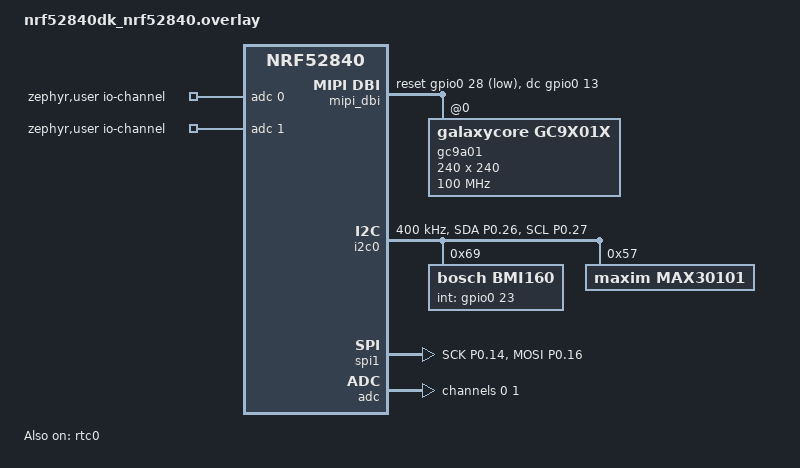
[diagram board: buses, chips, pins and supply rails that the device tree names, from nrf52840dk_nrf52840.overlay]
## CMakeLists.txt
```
# SPDX-License-Identifier: Apache-2.0

cmake_minimum_required(VERSION 3.20.0)

find_package(Zephyr REQUIRED HINTS $ENV{ZEPHYR_BASE})
project(accelerometer_chart)

include_directories(
    include
)

FILE(GLOB app_sources src/*.c)
target_sources(app PRIVATE ${app_sources})
target_sources(app PRIVATE
    src/bluetooth/ble_hrs.c
    src/bluetooth/ble_nus.c
    src/bluetooth/ble_service.c
)
target_sources(app PRIVATE
    src/sensors/bmi160.c
    src/sensors/max30101.c
)
target_sources(app PRIVATE
    # src/images/background.c
    src/images/heart.c
    src/images/background1.c
    src/images/steps_img.c
    src/images/bluetooth.c
    src/images/watchface1bg.c
    src/images/shoesw1.c
    src/images/cardiogram.c
    src/images/bluetooth1.c
    src/battery_monitor.c
)
target_sources(app PRIVATE
    src/watchdog.c
)
target_sources(app PRIVATE
    src/fonts/font1.c
    src/fonts/font2.c
)
```

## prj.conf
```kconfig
CONFIG_MAIN_STACK_SIZE=4096
CONFIG_LOG=y

CONFIG_LVGL=y
CONFIG_LV_Z_MEM_POOL_SIZE=16384

CONFIG_DISPLAY=y
CONFIG_INPUT=y
CONFIG_SENSOR=y
CONFIG_EMUL=y
CONFIG_ILI9341=y
CONFIG_LV_FONT_MONTSERRAT_16=y
CONFIG_LV_FONT_MONTSERRAT_12=y
CONFIG_LV_FONT_MONTSERRAT_14=y
CONFIG_LV_FONT_MONTSERRAT_20=y
CONFIG_LV_FONT_MONTSERRAT_22=y
CONFIG_LV_FONT_MONTSERRAT_28=y
CONFIG_LV_FONT_MONTSERRAT_32=y
CONFIG_LV_FONT_MONTSERRAT_10=y


CONFIG_HEAP_MEM_POOL_SIZE=16384


CONFIG_LV_USE_LABEL=y
CONFIG_LV_USE_BTN=y
CONFIG_LV_USE_ANIMIMG=y
CONFIG_LV_USE_CALENDAR=n
CONFIG_LV_USE_SWITCH=y
CONFIG_LV_USE_ARC=y
CONFIG_LV_USE_SLIDER=y
CONFIG_LV_USE_IMG=y


CONFIG_LV_COLOR_DEPTH_16=y

# Sat, vremenska podrška
CONFIG_COUNTER=y
CONFIG_RTC=y

# Clock i napajanje
CONFIG_CLOCK_CONTROL=y
CONFIG_CLOCK_CONTROL_NRF=y
CONFIG_CLOCK_CONTROL_NRF_K32SRC_RC=y
CONFIG_CLOCK_CONTROL_NRF_K32SRC_500PPM=y

# Bluetooth
CONFIG_BT=y
CONFIG_BT_PERIPHERAL=y
CONFIG_BT_DEVICE_NAME="nRF_Device"
CONFIG_BT_DEVICE_APPEARANCE=0
CONFIG_BT_CTS=y
CONFIG_BT_NUS=y
CONFIG_BT_HRS=y

CONFIG_POSIX_API=y
# Senzori i I2C/SPI
CONFIG_I2C=y
CONFIG_SPI=y
CONFIG_SENSOR=y
CONFIG_BMI160=y
CONFIG_GPIO=y
CONFIG_INPUT=y
CONFIG_ADC=y

CONFIG_WATCHDOG=y


# MCUboot podrška
CONFIG_BOOTLOADER_MCUBOOT=y
CONFIG_RETAINED_MEM=y
CONFIG_ZCBOR=y
CONFIG_MCUMGR=y
```

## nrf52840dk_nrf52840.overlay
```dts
/ {
    compatible = "nordic,nrf52840-dk-nrf52840";

    chosen {
        /* Only one display can be chosen at a time */
        zephyr,display = &gc9a01;    // SPI TFT
        zephyr,rtc = &rtc0;
    };

    aliases {
        max30101 = &max30101;
        bmi160 = &bmi160;
    };

    zephyr,user {
        io-channels = <&adc 0>, <&adc 1>;
    };





};

/* I2C0 Configuration (for BMI160, MAX30101, SSD1306) */
&i2c0 {
    status = "okay";
    pinctrl-0 = <&i2c0_default>;
    pinctrl-1 = <&i2c0_sleep>;
    pinctrl-names = "default", "sleep";
    clock-frequency = <I2C_BITRATE_FAST>;

    /* BMI160 IMU */
    bmi160: bmi160@69 {
        compatible = "bosch,bmi160";
        reg = <0x69>;
        label = "BMI160";
        int-gpios = <&gpio0 23 GPIO_ACTIVE_HIGH>;
    };

    /* MAX30101 Pulse Oximeter */
    max30101: max30101@57 {
        compatible = "maxim,max30101";
        reg = <0x57>;
        label = "MAX30101";
    };


};

/* SPI1 Configuration for ILI9341 */
&spi1 {
    status = "okay";
    cs-gpios = <&gpio0 29 GPIO_ACTIVE_LOW>;
    pinctrl-0 = <&spi1_default>;
    pinctrl-1 = <&spi1_sleep>;
    pinctrl-names = "default", "sleep";
};

/ {
    /* MIPI DBI/ILI9341 Configuration */
    mipi_dbi {
        compatible = "zephyr,mipi-dbi-spi";
        dc-gpios = <&gpio0 13 GPIO_ACTIVE_HIGH>;
        reset-gpios = <&gpio0 28 GPIO_ACTIVE_LOW>;
        write-only;
        #address-cells = <1>;  // Only 1 address cell (typical for SPI devices)
        #size-cells = <0>;     // No size needed (common for simple SPI devices)
        spi-dev = <&spi1>;


        gc9a01: gc9a01@0 {
            status="okay";
            compatible = "galaxycore,gc9x01x";
            reg = <0>;
            mipi-max-frequency = <100000000>;
            width = <240>;
            height = <240>;
			pixel-format = <1>;
            display-inversion;

        };
    };
};

/* Pin Control Definitions */
&pinctrl {
    /* I2C0 Pins */
    i2c0_default: i2c0_default {
        group1 {
            psels = <NRF_PSEL(TWIM_SDA, 0, 26)>,
                    <NRF_PSEL(TWIM_SCL, 0, 27)>;
            bias-pull-up;
        };
    };

    i2c0_sleep: i2c0_sleep {
        group1 {
            psels = <NRF_PSEL(TWIM_SDA, 0, 26)>,
                    <NRF_PSEL(TWIM_SCL, 0, 27)>;
            low-power-enable;
        };
    };

    /* SPI1 Pins */
    spi1_default: spi1_default {
        group1 {
            psels = <NRF_PSEL(SPIM_SCK, 0, 14)>,
                    <NRF_PSEL(SPIM_MOSI, 0, 16)>;
        };
    };

    spi1_sleep: spi1_sleep {
        group1 {
            psels = <NRF_PSEL(SPIM_SCK, 0, 14)>,
                    <NRF_PSEL(SPIM_MOSI, 0, 16)>;
            low-power-enable;
        };
    };


};

/* RTC Configuration */
&rtc0 {
    status = "okay";
    compatible = "nordic,nrf-rtc";
    clock-frequency = <32768>;
};

&adc {
    #address-cells = <1>;
    #size-cells = <0>;

    channel@0 {
        reg = <0>;
        zephyr,gain = "ADC_GAIN_1_6";
        zephyr,reference = "ADC_REF_INTERNAL";
        zephyr,acquisition-time = <ADC_ACQ_TIME_DEFAULT>;
        zephyr,input-positive = <NRF_SAADC_AIN1>; /* P0.03 */
        zephyr,resolution = <12>;
    };

    channel@1 {
        reg = <1>;
        zephyr,gain = "ADC_GAIN_1_6";
        zephyr,reference = "ADC_REF_INTERNAL";
        zephyr,acquisition-time = <ADC_ACQ_TIME_DEFAULT>;
        zephyr,input-positive = <NRF_SAADC_AIN7>; /* P0.31 */
        zephyr,resolution = <12>;
    };
};
```

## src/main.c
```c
// Zephyr and device-related includes
#include <zephyr/kernel.h>
#include <zephyr/device.h>
#include <zephyr/drivers/display.h>
#include <zephyr/drivers/sensor.h>
#include <lvgl.h>
#include <zephyr/sys/printk.h>
#include <zephyr/sys/timeutil.h>

// Custom headers for graphics, Bluetooth, fonts, drivers, etc.
#include "background.h"
#include "steps_img.h"
#include "heart.h"
#include "bluetooth.h"
#include "font1.h"
#include "background1.h"
#include "rtc_driver.h"
#include "display_ili9341.h"
#include "max30101.h"
#include "bmi160.h"
#include "bluetooth.h"
#include "ble_hrs.h"
#include "ble_nus.h"
#include "ble_service.h"
#include "watchdog.h"
#include "battery_monitor.h"

// ---------------------------------
// Constants and global variables
// ---------------------------------

#define BUFFER_SIZE 500 // Size of the IR buffer for HR signal processing

static uint32_t ir_buffer[BUFFER_SIZE]; // Buffer for storing raw IR samples
static int buffer_index = 0; // Index for buffer

char *received_data_from_bluetooth; // Pointer to hold received Bluetooth commands
bool value_nrf_connect = false;     // Flag indicating Bluetooth command received
bool value_nrf_connect2 = false;    // Secondary flag (may be used elsewhere)

// ------------------------------
// Thread stack definitions
// ------------------------------
K_THREAD_STACK_DEFINE(max30101_thread_stack, 5000);
K_THREAD_STACK_DEFINE(bmi160_thread_stack, 5000);
K_THREAD_STACK_DEFINE(display_thread_stack, 4096);
K_THREAD_STACK_DEFINE(bluetooth_thread_stack, 4096);

// Thread control structures
static struct k_thread max30101_thread_data;
static struct k_thread bmi160_thread_data;
static struct k_thread display_thread_data;
static struct k_thread bluetooth_thread_data;

// ------------------------------
// Message queue definitions
// ------------------------------

// Queue for heart rate values
K_MSGQ_DEFINE(hr_msgq, sizeof(int), 10, 4);

// Structure to store step data and accelerometer values
struct step_data {
    uint16_t steps;
    struct sensor_value accel[3];
};
K_MSGQ_DEFINE(step_msgq, sizeof(struct step_data), 10, 4);

// Queue for display data (HR and steps)
struct display_data {
    uint32_t hr;
    uint32_t steps;
};
K_MSGQ_DEFINE(display_msgq, sizeof(struct display_data), 10, 4);

// Queue for Bluetooth data (HR and steps)
struct bluetooth_data {
    uint32_t hr;
    uint32_t steps;
};
K_MSGQ_DEFINE(bluetooth_msgq, sizeof(struct bluetooth_data), 10, 4);

// ------------------------------
// Function prototypes for threads
// ------------------------------
void max30101_thread(void *arg1, void *arg2, void *arg3);   // HR sensor processing
void bmi160_thread(void *arg1, void *arg2, void *arg3);     // Step counter sensor
void display_thread(void *arg1, void *arg2, void *arg3);    // UI rendering
void bluetooth_thread(void *arg1, void *arg2, void *arg3);  // BLE communication

// Callback function when data is received over BLE
void handle_received_data(const char *data)
{
    printk("App received: %s\n", data);
    received_data_from_bluetooth = data;
    value_nrf_connect = true;
    value_nrf_connect2 = true;
}

// ------------------------------
// Main application entry point
// ------------------------------
void main(void) 
{
    // Get display device
    const struct device *display_dev = DEVICE_DT_GET(DT_CHOSEN(zephyr_display));
    if (!device_is_ready(display_dev)) {
        printk("Display not ready\n");
        return;
    }

    // Get I2C device for MAX30101
    const struct device *i2c_dev = DEVICE_DT_GET(DT_NODELABEL(i2c0));
    if (!device_is_ready(i2c_dev)) {
        printk("I2C for MAX not ready!\n");
        return;
    }

    // Initialize MAX30101 heart rate sensor
    if (max30101_init(i2c_dev) != 0) {
        printk("Sensor init failed!\n");
        return;
    }
    

    // Set RTC to a default time
    rtc_set_initial_time("2023-10-01 12:00:00");

    // Initialize BLE and set callback
    ble_init(handle_received_data);

    // Setup display and UI
    display_blanking_off(display_dev);
    lv_obj_clean(lv_scr_act());
    initialize_ui();
    watchface1(); // Default watchface

    // Initialize watchdog timer
    watchdog_init();

    //Initialize battery monitor
    battery_monitor_init();

    // Variables for local use (not used in the shown code)
    uint32_t step_count = 0;
    uint32_t last_update = k_uptime_get_32();
    uint32_t seed = k_cycle_get_32();
    uint8_t heart_rate = 80;

    // ----------------------
    // Create and start threads
    // ----------------------
    k_thread_create(&max30101_thread_data, max30101_thread_stack,
                    K_THREAD_STACK_SIZEOF(max30101_thread_stack),
                    max30101_thread, NULL, NULL, NULL, 5, 0, K_NO_WAIT);

    k_thread_create(&bmi160_thread_data, bmi160_thread_stack,
                    K_THREAD_STACK_SIZEOF(bmi160_thread_stack),
                    bmi160_thread, NULL, NULL, NULL, 5, 0, K_NO_WAIT);

    k_thread_create(&display_thread_data, display_thread_stack,
                    K_THREAD_STACK_SIZEOF(display_thread_stack),
                    display_thread, NULL, NULL, NULL, 4, 0, K_NO_WAIT); // Higher priority

    k_thread_create(&bluetooth_thread_data, bluetooth_thread_stack,
                    K_THREAD_STACK_SIZEOF(bluetooth_thread_stack),
                    bluetooth_thread, NULL, NULL, NULL, 3, 0, K_NO_WAIT); // Lower than display

    // ----------------------
    // Main application loop
    // ----------------------
    while (1) {
        int heart_rate;
        struct step_data step_data;
        struct display_data display_data = {0};
        struct bluetooth_data bt_data = {0};


        battery_monitor_process();
        
        // Check if Bluetooth command received
        if(value_nrf_connect) {
            if(received_data_from_bluetooth > 0){
                // Switch between different watchfaces or set RTC
                if(strcmp(received_data_from_bluetooth, "watchface1") == 0) {
                    watchface1();
                } else if(strcmp(received_data_from_bluetooth, "watchface2") == 0) {
                    watchface2();
                } else if(strcmp(received_data_from_bluetooth, "w1steps") == 0) {
                    watchfacesteps();
                } else if(strcmp(received_data_from_bluetooth, "w1hr") == 0) {
                    watchfacehr();
                } else if(strcmp(received_data_from_bluetooth, "enablecd") == 0) {
                    enable_change_display_by_accel = true;
                } else if(strcmp(received_data_from_bluetooth, "disablecd") == 0) {
                    enable_change_display_by_accel = false;
                
                }else {
                    rtc_set_initial_time(received_data_from_bluetooth); // Parse date/time
                }
                received_data_from_bluetooth = NULL; // Clear command
            }
            value_nrf_connect = false; // Reset flag
        }

        // Read HR data from queue
        if (k_msgq_get(&hr_msgq, &heart_rate, K_NO_WAIT) == 0) {
            printk("HR: %d bpm\n", heart_rate);
            display_data.hr = heart_rate;
            bt_data.hr = heart_rate;
        }

        // Read step data from queue
        if (k_msgq_get(&step_msgq, &step_data, K_NO_WAIT) == 0) {
            printk("Steps: %u\n", step_data.steps);
            display_data.steps = step_data.steps;
            bt_data.steps = step_data.steps;
        }
        
        // Send data to display and Bluetooth threads if available
        if (display_data.hr != 0 || display_data.steps != 0) {
            k_msgq_put(&display_msgq, &display_data, K_NO_WAIT);
            k_msgq_put(&bluetooth_msgq, &bt_data, K_NO_WAIT);
        }

        // Update time and UI
        rtc_update_time_label(my_time_label, my_date_label, short_time_label);
        lv_task_handler(); // Update GUI
        k_msleep(1000);    // Sleep for 1 second
    }
}







void max30101_thread(void *arg1, void *arg2, void *arg3)
{
    ARG_UNUSED(arg1);
    ARG_UNUSED(arg2);
    ARG_UNUSED(arg3);

    #define HR_HISTORY_SIZE 10
    static uint16_t hr_history[HR_HISTORY_SIZE];
    static uint8_t hr_index = 0;
    static bool hr_history_full = false;
    static uint16_t avg_hr = 0;

    while (1) {
        uint32_t ir;
        if (max30101_read_ir_sample(&ir) == 0) {
            ir_buffer[buffer_index++] = ir;

            if (buffer_index >= BUFFER_SIZE) {
                int delta = count_peaks(ir_buffer, BUFFER_SIZE);
                int heart_rate = 0;

                if (delta <= 0) {
                    printk("Finger removed\n");

                } else {
                    heart_rate = (60 * 100) / delta;
                    
                    if(heart_rate > 40 && heart_rate < 200) {  // Valid HR range
                        // Store HR in history
                        hr_history[hr_index++] = heart_rate;
                        
                        // Check if history is full
                        if (hr_index >= HR_HISTORY_SIZE) {
                            hr_index = 0;
                            hr_history_full = true;
                        }
                        
                        // Calculate average HR
                        if (hr_history_full) {
                            uint16_t temp_array[HR_HISTORY_SIZE];
                            memcpy(temp_array, hr_history, sizeof(hr_history));
                            
                            // Sort the array to easily find min/max values
                            for (int i = 0; i < HR_HISTORY_SIZE-1; i++) {
                                for (int j = i+1; j < HR_HISTORY_SIZE; j++) {
                                    if (temp_array[i] > temp_array[j]) {
                                        uint16_t temp = temp_array[i];
                                        temp_array[i] = temp_array[j];
                                        temp_array[j] = temp;
                                    }
                                }
                            }
                            uint32_t sum = 0;
                            for (int i = 0; i < HR_HISTORY_SIZE; i++) {
                                sum += hr_history[i];
                            }
                            avg_hr = sum / HR_HISTORY_SIZE;
                            
                            // Send both current and average HR
                            struct hr_data {
                                uint16_t current_hr;
                                uint16_t average_hr;
                            } hr_msg;
                            
                            hr_msg.current_hr = heart_rate;
                            hr_msg.average_hr = avg_hr;
                            
                            k_msgq_put(&hr_msgq, &hr_msg.average_hr, K_NO_WAIT);
                            
                            printk("HR: %d (avg: %d)\n", heart_rate, avg_hr);
                        } else {
                            // Send only current HR until we have enough samples
                            struct hr_data {
                                uint16_t current_hr;
                                uint16_t average_hr;
                            } hr_msg;
                            
                            hr_msg.current_hr = heart_rate;
                            hr_msg.average_hr = 0;  // Not available yet
                            
                            k_msgq_put(&hr_msgq, &hr_msg.current_hr, K_NO_WAIT);
                            
                            printk("HR: %d (collecting samples)\n", heart_rate);
                        }
                    }
                }
                buffer_index = 0;
            }
        }
        k_sleep(K_MSEC(10));
    }
}





void bmi160_thread(void *arg1, void *arg2, void *arg3)
{
    ARG_UNUSED(arg1);
    ARG_UNUSED(arg2);
    ARG_UNUSED(arg3);
    
    const struct device *sensor = DEVICE_DT_GET_ONE(bosch_bmi160);
    if (!device_is_ready(sensor)) {
        printk("BMI160 device not ready\n");
        return;
    }

    if (bmi160_enable_step_counter() != 0) {
        printk("Failed to enable step counter\n");
        return;
    }
    int16_t ax, ay, az;
    
    
    while (1) {
        uint16_t steps = 0;
        struct sensor_value accel[3];
        struct step_data step_data;
        if (bmi160_read_accel(&ax, &ay, &az) == 0) {
            printk("Accel X: %d, Y: %d, Z: %d\n", ax, ay, az);
        }
        if (sensor_sample_fetch(sensor) == 0) {
            if (sensor_channel_get(sensor, SENSOR_CHAN_ACCEL_XYZ, accel) == 0) {
                if (bmi160_read_step_count(&steps) == 0) {
                    step_data.steps = steps;
                    memcpy(step_data.accel, accel, sizeof(accel));
                    k_msgq_put(&step_msgq, &step_data, K_NO_WAIT);
                }
            }
        }
        k_sleep(K_MSEC(100));
    }
}

void display_thread(void *arg1, void *arg2, void *arg3)
{
    ARG_UNUSED(arg1);
    ARG_UNUSED(arg2);
    ARG_UNUSED(arg3);


    
    struct display_data data = {0};
    
    while (1) {
        // Get new data from queue with timeout
        if (k_msgq_get(&display_msgq, &data, K_MSEC(100)) == 0) {
            update_lcd_display(data.hr, data.steps);
        }
        
        // Always refresh the display periodically
        lv_task_handler();
        k_sleep(K_MSEC(50));  // Refresh at ~20Hz
    }
}

void bluetooth_thread(void *arg1, void *arg2, void *arg3)
{
    ARG_UNUSED(arg1);
    ARG_UNUSED(arg2);
    ARG_UNUSED(arg3);

    struct bluetooth_data data;
    static uint32_t last_hr = 0;
    static uint32_t last_steps = 0;

    while (1) {
        if (k_msgq_get(&bluetooth_msgq, &data, K_MSEC(100)) == 0) {
            // Only send data if it has changed
            if (data.hr != last_hr || data.steps != last_steps) {
                ble_nus_send_data(data.hr, data.steps);
                ble_hrs_update(data.hr);
                last_hr = data.hr;
                last_steps = data.steps;
            }
        }
        k_sleep(K_MSEC(100));
    }
}
```

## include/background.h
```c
#ifndef background_h
#define background_H

#include <lvgl.h>

#ifdef __cplusplus
extern "C" {
#endif

extern const lv_img_dsc_t image_160x160; 

#ifdef __cplusplus
} /* extern "C" */
#endif

#endif 
```

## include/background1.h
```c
#ifndef background_h
#define background_H

#include <lvgl.h>

#ifdef __cplusplus
extern "C" {
#endif

extern const lv_img_dsc_t background1; 

#ifdef __cplusplus
} /* extern "C" */
#endif

#endif 
```

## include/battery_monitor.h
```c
#ifndef BATTERY_MONITOR_H
#define BATTERY_MONITOR_H

#include <stdint.h>
#include <stdbool.h>



#ifdef __cplusplus
extern "C" {
#endif

/* Battery voltage calculation constants */
#define VOLTAGE_DIVIDER_RATIO 2.0f
#define ADC_REF_VOLTAGE_MV 3600
#define ADC_MAX_VALUE 4095
#define CHARGING_THRESHOLD_MV 1500

/* Battery voltage thresholds */
#define VOLTAGE_FULL 2100
#define VOLTAGE_GOOD 1850
#define VOLTAGE_LOW 1700
#define VOLTAGE_CRITICAL 1650

extern bool is_charging;
extern int percentage;



/**
 * @brief Converts battery voltage (in mV) to percentage using lookup table.
 *
 * Uses linear interpolation between voltage levels to determine battery percentage.
 *
 * @param battery_mv Battery voltage in millivolts.
 * @return int Battery level in percentage (0–100).
 */
int voltage_to_percent(int battery_mv);


/**
 * @brief Performs battery monitoring and updates display with battery status.
 *
 * - Samples battery voltage from ADC.
 * - Converts voltage to battery percentage.
 * - Checks charging status from second ADC channel.
 * - Updates global variables and display accordingly.
 */
void battery_monitor_process(void);


/**
 * @brief Initializes the ADC channels for battery monitoring.
 *
 * Verifies that each ADC channel is ready and configures them.
 * Prints error messages if initialization fails.
 */
void battery_monitor_init(void);



#ifdef __cplusplus
}
#endif

#endif // BATTERY_MONITOR_H
```

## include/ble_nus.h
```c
#ifndef BLE_NUS_H
#define BLE_NUS_H

#include <zephyr/kernel.h>
#include <zephyr/bluetooth/bluetooth.h>
#include <zephyr/bluetooth/hci.h>
#include <bluetooth/services/nus.h>

#ifdef __cplusplus
extern "C" {
#endif

/**
 * @brief Callback function to handle Bluetooth events.
 * 
 * @param err 
 */
void bt_ready(int err);

/**
 * @brief Callback function for connection events.
 * 
 * @param conn 
 * @param err 
 */
void connected(struct bt_conn *conn, uint8_t err);

/**
 * @brief Callback function for disconnection events.
 * 
 * @param conn 
 * @param reason 
 */
void disconnected(struct bt_conn *conn, uint8_t reason);

/**
 * @brief Initializes the Bluetooth Low Energy (BLE) NUS service.
 * 
 * @return int 
 */
int ble_nus_init(void);

/**
 * @brief Sends heart rate and step data over BLE.
 * 
 * @param heart_rate 
 * @param steps 
 * @return int 
 */
int ble_nus_send_data(int heart_rate, uint32_t steps);

#ifdef __cplusplus
}
#endif

#endif /* BLE_NUS_H */
```

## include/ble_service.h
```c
#ifndef BLE_SERVICE_H
#define BLE_SERVICE_H

#include <zephyr/types.h>



/**
 * @brief Initializes the Bluetooth Low Energy (BLE) service.
 * 
 * @param callback 
 */
void ble_init(void (*callback)(const char *));


/**
 * @brief Sends heart rate and step data over BLE.
 * 
 * @param heart_rate 
 * @param steps 
 */
void ble_send_data(int heart_rate, uint32_t steps);


/**
 * @brief Sends a string message over BLE.
 * 
 * @param message 
 */
void ble_send_string(const char *message);
#endif // BLE_SERVICE_H
```

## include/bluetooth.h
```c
#ifndef steps_img_h
#define steps_img_H

#include <lvgl.h>

#ifdef __cplusplus
extern "C" {
#endif

extern const lv_img_dsc_t image_30x30; 

#ifdef __cplusplus
} /* extern "C" */
#endif

#endif 
```

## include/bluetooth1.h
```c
#ifndef steps_img_h
#define steps_img_H

#include <lvgl.h>

#ifdef __cplusplus
extern "C" {
#endif

extern const lv_img_dsc_t bluetooth1; 

#ifdef __cplusplus
} /* extern "C" */
#endif

#endif 
```

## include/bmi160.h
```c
#ifndef BMI160_H_
#define BMI160_H_

#include <zephyr/kernel.h>
#include <zephyr/device.h>
#include <zephyr/drivers/i2c.h>

#define BMI160_I2C_ADDR 0x69
#define BMI160_REG_ACC_X_LSB 0x12
#define BMI160_REG_ACC_X_MSB 0x13
#define BMI160_REG_ACC_Y_LSB 0x14
#define BMI160_REG_ACC_Y_MSB 0x15
#define BMI160_REG_ACC_Z_LSB 0x16
#define BMI160_REG_ACC_Z_MSB 0x17

extern bool change_display_by_accel;
extern bool enable_change_display_by_accel;
extern uint16_t display_state;
extern uint16_t bpm_array[3];


/**
 * @brief Enable the step counter.
 * 
 * This function initializes the BMI160 sensor and enables the step counter.
 * 
 * @return int 
 */
int bmi160_enable_step_counter(void);


/**
 * @brief Read the step count from the BMI160 sensor.
 * 
 * This function reads the step count from the BMI160 sensor and stores it in the provided pointer.
 * 
 * @param steps 
 * @return int 
 */
int bmi160_read_step_count(uint16_t *steps);

/**
 * @brief Reset the step counter.
 * 
 * This function resets the step counter on the BMI160 sensor.
 * Reset happens when new day starts.
 * 
 * @return int 
 */
int bmi160_reset_step_counter(void);
int bmi160_read_accel(int16_t *x, int16_t *y, int16_t *z);

#endif // BMI160_H_
```

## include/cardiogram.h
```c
#ifndef CARDIOGRAM_H
#define CARDIOGRAM_H

#include <lvgl.h>

#ifdef __cplusplus
extern "C" {
#endif

extern const lv_img_dsc_t cardiogram; 

#ifdef __cplusplus
} /* extern "C" */
#endif

#endif 
```

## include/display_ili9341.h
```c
#ifndef DISPLAY_ILI9341_H
#define DISPLAY_ILI9341_H

#include <lvgl.h>
#include <zephyr/kernel.h>
#include <zephyr/drivers/gpio.h>

// Extern LVGL objekti
extern lv_obj_t *battery_label;
extern lv_obj_t *heart_label;
extern lv_obj_t *steps_label;
extern lv_obj_t *my_time_label;
extern lv_obj_t *my_date_label;
extern lv_obj_t *battery_percent_label;
extern lv_obj_t *image;
extern lv_obj_t *image1;
extern lv_obj_t *bluetooth_img;
extern lv_obj_t *bluetooth_img1;
extern lv_obj_t *bt_label;
extern lv_obj_t *steps_img;
extern lv_obj_t *heart_img;
extern lv_obj_t *short_time_label;



/** @brief Initializes the UI components.
 *
 * This function creates and configures the UI components for the display.
 * It sets up images, labels, and their properties.
 */
void initialize_ui(void);



/**
 * @brief Hides all UI views.
 *
 * This function sets the visibility of all UI components to hidden.
 * It is used to clear the display before showing a new view.
 */
void hide_all_views(void);


/**
 * @brief Displays the main watch face.
 * 
 * This function sets up the main watch face with the background image,
 * heart rate label, steps label, and other UI elements.
 */
extern void watchface1(void);


/**
 * @brief Displays the watch face with other features.
 * 
 * This function sets up the watch face with a different background image
 * and shows the steps label and shoes image.
 * It is used for a specific watch face view.
 */
void watchface2(void);

/**
 * @brief Updates the LCD display with heart rate and steps.
 * 
 * This function updates the heart rate and steps labels on the LCD display.
 * It sets the text for the heart rate and steps labels and aligns them on the screen.
 * 
 * @param heart_rate The current heart rate value.
 * @param steps The current step count.
 * 
 */
void update_lcd_display(uint32_t heart_rate, uint32_t steps);

/**
 * @brief Set HR on watchface1
 * 
 * This function sets up the watch face with heart rate and cardiogram images.
 * It is used for a specific watch face view.
 */
extern void watchfacehr(void); 


/**
 * @brief Set steps on watchface1
 * 
 * This function sets up the watch face with steps and shoes images.
 * It is used for a specific watch face view.
 */
extern void watchfacesteps(void); 

/**
 * @brief Set battery status
 * 
 * This function updates the battery status on the display based on the percentage.
 * It shows or hides the battery label images according to the battery level.
 * 
 * @param percentage The current battery percentage (0-100).
 * @param is_charging Indicates if the device is charging (true/false).
 */
void show_battery_status(int percentage,bool is_charging);


extern void vibration_50(void);
extern void vibration_300(void);
extern void vibration_150(void);

extern void draw_heart_rate_chart_with_labels(const char time_labels[3][6], const int heart_rate[], int count);


#endif // UI_H
```

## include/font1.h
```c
#ifndef font1_H
#define font1_H

#include <lvgl.h>

#ifdef __cplusplus
extern "C" {
#endif

extern const lv_font_t ui_font_aliean_25; 

#ifdef __cplusplus
} /* extern "C" */
#endif

#endif 
```

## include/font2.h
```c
#ifndef font2_H
#define font2_H

#include <lvgl.h>

#ifdef __cplusplus
extern "C" {
#endif

extern const lv_font_t font2; 

#ifdef __cplusplus
} /* extern "C" */
#endif

#endif 
```
